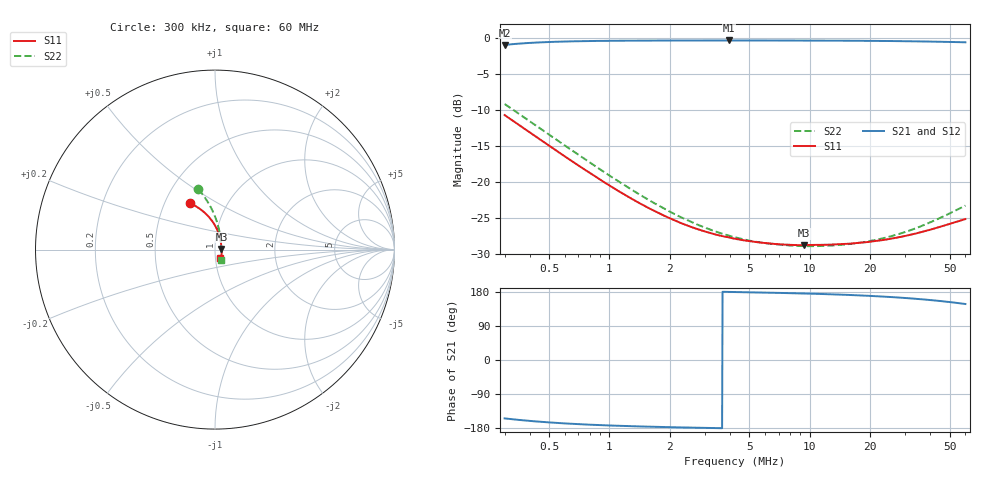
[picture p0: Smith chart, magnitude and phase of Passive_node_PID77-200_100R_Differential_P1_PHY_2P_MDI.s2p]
! TOUCHSTONE file generated by CST DESIGN STUDIO
! Date and time: Tue May 12 13:52:02 2026
! Project name: C:\sim_local\10base-t1m\passive_node_simulations_nostub.cst
! Tree item: Tasks\SPara1\S-Parameters
! Header version: 2024
! Port assignment regex: !\s*Touchstone port\s*([0-9]+)\s*=\s*(CST MWS port|CST DES external port|CST DES block port)\s*(.+)\s* \(\"(.*)\"\)(\s*mode\s*([0-9]+))?.*
! Touchstone port assignment:
! Touchstone port 1 = CST DES external port 1 ("PHY")
! Touchstone port 2 = CST DES external port 2 ("MDI")
# MHz S MA R 100
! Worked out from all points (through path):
!   1001 points, 300 kHz to 60 MHz, reference 100 ohm
!   highest |S21| = -0.31 dB at 3.939 MHz (marker M1); lowest = -0.9 dB at 300 kHz (marker M2)
!   lowest |S11| = -28.8 dB at 9.343 MHz (marker M3), VSWR 1.08, Z = 107 + j0.881 ohm
!   |S11| at or under -10 dB: start of sweep to end of sweep
!   |S22| runs from -28.9 to -9.1 dB; largest |S21 - S12| = 0.00039
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0.3  0.2924 118.1  0.8985 -154.1  0.8986 -154.1  0.3493 105.5
0.3669107  0.2411 110.2  0.9208 -158.9  0.9208 -158.9  0.2881 100.4
0.4463736  0.1998 103.3  0.9354 -162.8  0.9353 -162.8  0.2386 95.8
0.5605867  0.1607 95.9  0.9465 -166.4  0.9464 -166.4  0.1916 90.8
0.7267638  0.1261 87.9  0.9543 -169.7  0.9542 -169.7  0.1496 85.3
1.170809  0.08297 73.2  0.9614 -174.0  0.9612 -174.0  0.09653 74.3
1.760619  0.06094 59.7  0.9639 -176.6  0.9638 -176.6  0.06871 63.2
2.199422  0.05293 51.9  0.9645 -177.7  0.9645 -177.7  0.05837 56.3
2.647553  0.04798 45.3  0.9648 -178.6  0.9647 -178.6  0.05184 50.3
3.342642  0.04345 37.2  0.965 -179.6  0.9649 -179.6  0.04569 42.3
3.939325  0.04128 31.6  0.9651 179.7  0.965 179.7  0.04253 36.5
4.242641  0.04035 29.2  0.965 179.4  0.9649 179.4  0.04132 34.0
6.082839  0.03763 18.2  0.9647 177.8  0.9645 177.8  0.03747 21.9
9.343073  0.03638 6.5  0.964 175.5  0.9637 175.5  0.0359 8.5
10.27799  0.03656 3.0  0.9633 175.0  0.963 175.0  0.03587 4.7
13.11462  0.03679 -3.4  0.9623 173.2  0.9619 173.2  0.03629 -2.8
16.73413  0.03754 -10.1  0.9607 171.1  0.9603 171.1  0.03744 -10.3
24.89891  0.04018 -22.4  0.9565 166.5  0.9563 166.5  0.04162 -23.8
31.43588  0.04283 -31.0  0.953 162.9  0.9527 162.9  0.04594 -32.7
40.32497  0.0468 -41.6  0.9479 158.1  0.9477 158.1  0.0527 -43.1
49.05826  0.05073 -50.9  0.943 153.5  0.9428 153.5  0.05976 -52.0
60  0.05532 -61.3  0.9371 147.7  0.9368 147.7  0.06865 -61.3
